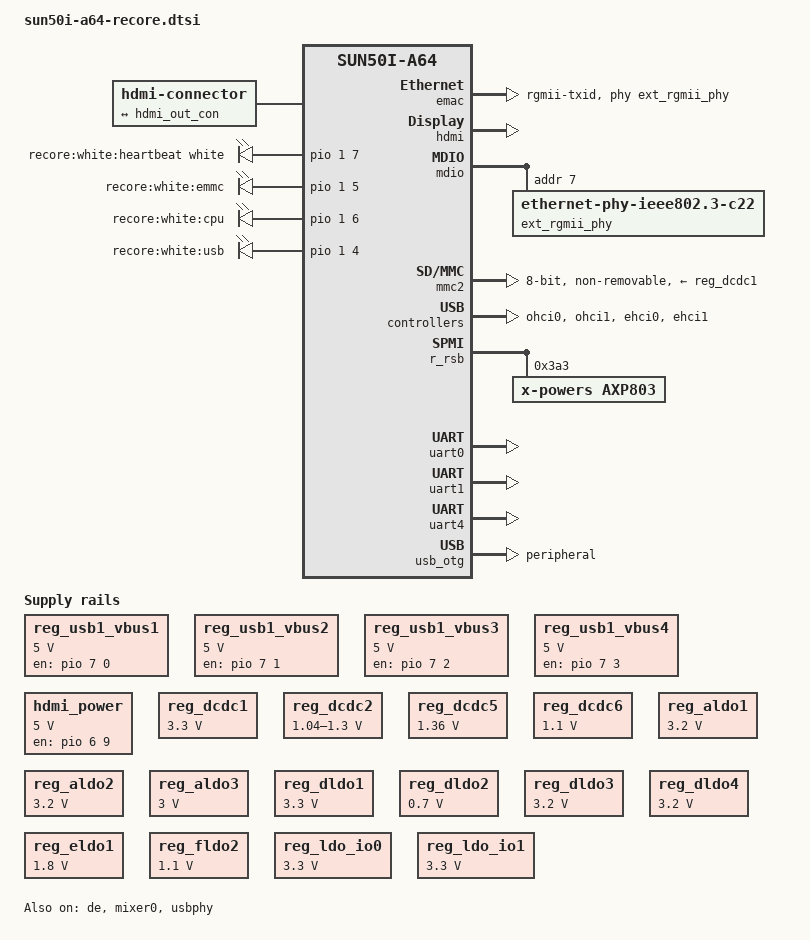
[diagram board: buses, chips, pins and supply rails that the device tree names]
// SPDX-License-Identifier: (GPL-2.0+ OR MIT)

/dts-v1/;

#include "sun50i-a64.dtsi"

#include <dt-bindings/gpio/gpio.h>
#include <dt-bindings/leds/common.h>

/ {
  compatible = "pine64,pine64", "allwinner,sun50i-a64";

	aliases {
		ethernet0 = &emac;
		serial0 = &uart0;
		serial1 = &uart1;
		serial2 = &uart2;
		serial3 = &uart3;
		serial4 = &uart4;
	};

	chosen {
		stdout-path = "serial0:115200n8";
	};

	hdmi-connector {
		compatible = "hdmi-connector";
		type = "a";

		port {
			hdmi_con_in: endpoint {
				remote-endpoint = <&hdmi_out_con>;
			};
		};
	};
  leds {
    compatible = "gpio-leds";

    heartbeat-led {
      label = "recore:white:heartbeat";
      gpios = <&pio 1 7 GPIO_ACTIVE_HIGH>;
      linux,default-trigger = "heartbeat";
      function = LED_FUNCTION_STATUS;
      color = <LED_COLOR_ID_WHITE>;
    };

    emmc-led {
      label = "recore:white:emmc";
      gpios = <&pio 1 5 GPIO_ACTIVE_HIGH>;
      linux,default-trigger = "mmc0";
    };

    cpu-led {
      label = "recore:white:cpu";
      gpios = <&pio 1 6 GPIO_ACTIVE_HIGH>;
      linux,default-trigger = "activity";
    };

    usb-led {
      label = "recore:white:usb";
      function = LED_FUNCTION_USB;
      gpios = <&pio 1 4 GPIO_ACTIVE_HIGH>;
      trigger-sources = <&ohci1>, <&ehci1>;
    };
  };

  reg_usb1_vbus1: usb1-vbus1 {
    compatible = "regulator-fixed";
    regulator-name = "usb1-vbus1";
    gpio = <&pio 7 0 GPIO_ACTIVE_HIGH> ; /* PH0 */
    regulator-min-microvolt = <5000000>;
    regulator-max-microvolt = <5000000>;
    regulator-boot-on;
    regulator-always-on;
    enable-active-high;
    status = "okay";
  };

  reg_usb1_vbus2: usb1-vbus2 {
    compatible = "regulator-fixed";
    regulator-name = "usb1-vbus2";
    gpio = <&pio 7 1 GPIO_ACTIVE_HIGH> ; /* PH1 */
    regulator-min-microvolt = <5000000>;
    regulator-max-microvolt = <5000000>;
    regulator-boot-on;
    regulator-always-on;
    enable-active-high;
    status = "okay";
  };

  reg_usb1_vbus3: usb1-vbus3 {
    compatible = "regulator-fixed";
    regulator-name = "usb1-vbus3";
    gpio = <&pio 7 2 GPIO_ACTIVE_HIGH> ;
    regulator-min-microvolt = <5000000>;
    regulator-max-microvolt = <5000000>;
    regulator-boot-on;
    regulator-always-on;
    enable-active-high;
    status = "okay";
  };

  reg_usb1_vbus4: usb1-vbus4 {
    compatible = "regulator-fixed";
    regulator-name = "usb1-vbus4";
    gpio = <&pio 7 3 GPIO_ACTIVE_HIGH> ; /* PH3 */
    regulator-min-microvolt = <5000000>;
    regulator-max-microvolt = <5000000>;
    regulator-boot-on;
    regulator-always-on;
    enable-active-high;
    status = "okay";
  };

  hdmi_power: hdmi-vbus {
    compatible = "regulator-fixed";
    regulator-name = "hdmi-vbus";
    gpio = <&pio 6 9 GPIO_ACTIVE_HIGH> ; /* PG9 */
    regulator-min-microvolt = <5000000>;
    regulator-max-microvolt = <5000000>;
    regulator-boot-on;
    regulator-always-on;
    enable-active-high;
    status = "okay";
  };
};

&de {
	status = "okay";
};

&cpu0 {
	cpu-supply = <&reg_dcdc2>;
};

&cpu1 {
	cpu-supply = <&reg_dcdc2>;
};

&cpu2 {
	cpu-supply = <&reg_dcdc2>;
};

&cpu3 {
	cpu-supply = <&reg_dcdc2>;
};

&mixer0 {
	status = "okay";
};

&emac {
	pinctrl-names = "default";
	pinctrl-0 = <&rgmii_pins>;
	phy-mode = "rgmii-txid";
	phy-handle = <&ext_rgmii_phy>;
	status = "okay";
};

&hdmi {
	hvcc-supply = <&reg_dldo1>;
  hvcc = <&reg_dldo1>;
	status = "okay";
};

&hdmi_out {
	hdmi_out_con: endpoint {
		remote-endpoint = <&hdmi_con_in>;
	};
};

&mdio {
	ext_rgmii_phy: ethernet-phy@1 {
		compatible = "ethernet-phy-ieee802.3-c22";
		reg = <7>;
	};
};


&mmc2 {
	pinctrl-names = "default";
  pinctrl-0 = <&mmc2_pins>, <&mmc2_ds_pin>;
	vmmc-supply = <&reg_dcdc1>;
  vqmmc-supply = <&reg_eldo1>;
  non-removable;
	bus-width = <8>;
  cap-mmc-hw-reset;
  mmc-hs200-1_8v;
  max-frequency = <150000000>;
	status = "okay";
};

&ohci0 {
  /*phys = <&usbphy 0>;
  phy-names = "usb";*/
	status = "okay";
};

&ohci1 {
	status = "okay";
};

&ehci0 {
  /*phys = <&usbphy 0>;
  phy-names = "usb";*/
	status = "okay";
};

&ehci1 {
	status = "okay";
};

&pio {
  vcc-pb-supply = <&reg_dcdc1>;
	vcc-pc-supply = <&reg_eldo1>;
	vcc-pd-supply = <&reg_dcdc1>;
	vcc-pe-supply = <&reg_dcdc1>;
  vcc-pf-supply = <&reg_dcdc1>;
	vcc-pg-supply = <&reg_dcdc1>;
  vcc-ph-supply = <&reg_dcdc1>;
  vcc-pl-supply = <&reg_dcdc1>;
};

&r_rsb {
	status = "okay";

	axp803: pmic@3a3 {
		compatible = "x-powers,axp803";
		reg = <0x3a3>;
		interrupt-parent = <&r_intc>;
		interrupts = <0 IRQ_TYPE_LEVEL_LOW>;
	};
};

#include "axp803.dtsi"

&ac_power_supply {
	status = "okay";
};

&battery_power_supply {
	status = "disabled";
};

&reg_dc1sw {
  regulator-always-on;
	regulator-name = "vcc-phy";
  regulator-enable-ramp-delay = <100000>;
};

&reg_dcdc1 {
	regulator-always-on;
	regulator-min-microvolt = <3300000>;
	regulator-max-microvolt = <3300000>;
	regulator-name = "vcc-3v3";
};

&reg_dcdc2 {
	regulator-always-on;
	regulator-min-microvolt = <1040000>;
	regulator-max-microvolt = <1300000>;
	regulator-name = "vdd-cpux";
};

&reg_dcdc5 {
	regulator-always-on;
	regulator-min-microvolt = <1360000>;
	regulator-max-microvolt = <1360000>;
	regulator-name = "vcc-dram";
};

&reg_dcdc6 {
	regulator-always-on;
	regulator-min-microvolt = <1100000>;
	regulator-max-microvolt = <1100000>;
	regulator-name = "vdd-sys";
};

&reg_aldo1 {
	regulator-always-on;
	regulator-min-microvolt = <3200000>;
	regulator-max-microvolt = <3200000>;
	regulator-name = "vcc-vref-e0";
};

&reg_aldo2 {
	regulator-always-on;
	regulator-min-microvolt = <3200000>;
	regulator-max-microvolt = <3200000>;
	regulator-name = "vcc-vref-e1";
};

&reg_aldo3 {
	regulator-always-on;
	regulator-min-microvolt = <3000000>;
	regulator-max-microvolt = <3000000>;
	regulator-name = "vcc-pll-avcc";
};

&reg_dldo1 {
  regulator-always-on;
	regulator-min-microvolt = <3300000>;
	regulator-max-microvolt = <3300000>;
	regulator-name = "vcc-hdmi";
};

&reg_dldo2 {
  regulator-always-on;
	regulator-min-microvolt = <700000>;
	regulator-max-microvolt = <700000>;
	regulator-name = "current-control";
};

&reg_dldo3 {
	regulator-always-on;
	regulator-min-microvolt = <3200000>;
	regulator-max-microvolt = <3200000>;
	regulator-name = "vcc-vref-e2";
};

&reg_dldo4 {
  regulator-always-on;
  regulator-min-microvolt = <3200000>;
  regulator-max-microvolt = <3200000>;
  regulator-name = "vcc-vref-e3";
};

&reg_eldo1 {
  regulator-always-on;
	regulator-min-microvolt = <1800000>;
	regulator-max-microvolt = <1800000>;
	regulator-name = "emmc-io";
};

&reg_fldo1 {
	regulator-name = "vdd-hsic";
  status = "disabled";
};

&reg_fldo2 {
	regulator-always-on;
	regulator-min-microvolt = <1100000>;
	regulator-max-microvolt = <1100000>;
	regulator-name = "vdd-cpus";
};

&gpio0_ldo {
  function = "ldo";
};

&gpio1_ldo {
  function = "ldo";
};

&reg_ldo_io0 {
  regulator-always-on;
  regulator-min-microvolt = <3300000>;
  regulator-max-microvolt = <3300000>;
  regulator-name = "vcc-ref";
	status = "okay";
};


&reg_ldo_io1 {
  regulator-always-on;
  regulator-min-microvolt = <3300000>;
  regulator-max-microvolt = <3300000>;
  regulator-name = "vcc-iref";
  status = "okay";
};

&reg_rtc_ldo {
	regulator-name = "vcc-rtc";
};

&simplefb_hdmi {
	vcc-hdmi-supply = <&reg_dldo1>;
};

/* Debug port */
&uart0 {
	pinctrl-names = "default";
	pinctrl-0 = <&uart0_pb_pins>;
	status = "okay";
};

/* AR100 null-modem */
&uart1 {
	pinctrl-names = "default";
	pinctrl-0 = <&uart1_pins>;
	status = "okay";
};


/* TMC2209 */
/*&uart2 {
	pinctrl-names = "default";
	pinctrl-0 = <&uart2_pins>;
	status = "okay";
};*/

/* TMC2209 */
/*&uart3 {
	pinctrl-names = "default";
	pinctrl-0 = <&uart3_pins>;
	status = "okay";
};*/

/* uC */
&uart4 {
	pinctrl-names = "default";
	pinctrl-0 = <&uart4_pins>;
	status = "okay";
};

&usb_otg {
  dr_mode = "peripheral";
	status = "okay";
};

&usbphy {
  usb1_vbus-supply = <&reg_usb1_vbus1>, <&reg_usb1_vbus2>, <&reg_usb1_vbus3>, <&reg_usb1_vbus4>;
	status = "okay";
};
